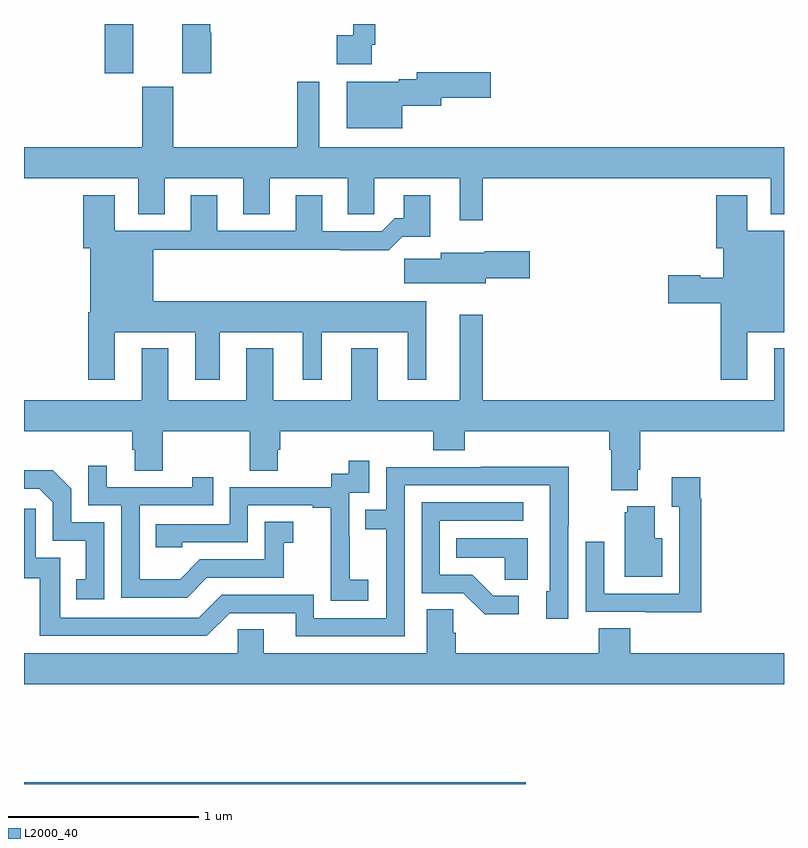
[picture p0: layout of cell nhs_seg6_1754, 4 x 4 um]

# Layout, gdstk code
import gdstk
lib = gdstk.Library(unit=1e-6, precision=1e-09)
def R(c, l, rs):  # rectangles x0, y0, x1, y1
    for r in rs: c.add(gdstk.rectangle(r[:2], r[2:], *l))
def P(c, l, *ps):  # polygons
    for p in ps: c.add(gdstk.Polygon(p, *l))
L2000_40 = (2000, 40)

nhs_seg6_1754 = lib.new_cell('nhs_seg6_1754')
R(nhs_seg6_1754, L2000_40, [(217,925.5,219.64,925.508), (217.424,929.241,217.576,929.5)])
P(nhs_seg6_1754, L2000_40, [(218.829,929.392),(218.849,929.392),(218.849,929.5),(218.732,929.5),(218.732,929.441),(218.646,929.441),(218.646,929.288),(218.829,929.288)],
  [(217.985,929.453),(217.98,929.453),(217.98,929.5),(217.832,929.5),(217.832,929.241),(217.985,929.241)],
  [(218.992,929.069),(219.196,929.069),(219.196,929.111),(219.457,929.111),(219.457,929.246),(219.068,929.246),(219.068,929.21),(218.972,929.21),(218.972,929.197),(218.699,929.197),(218.699,928.952),(218.992,928.952)],
  [(219.415,928.688),(220.931,928.688),(220.931,928.498),(221,928.498),(221,928.852),(218.554,928.852),(218.554,929.197),(218.437,929.197),(218.437,928.852),(217.786,928.852),(217.786,929.169),(217.622,929.169),(217.622,928.852),(217,928.852),(217,928.688),(217.601,928.688),(217.601,928.498),(217.741,928.498),(217.741,928.688),(218.153,928.688),(218.153,928.498),(218.293,928.498),(218.293,928.688),(218.705,928.688),(218.705,928.498),(218.844,928.498),(218.844,928.688),(219.293,928.688),(219.293,928.467),(219.415,928.467)],
  [(217.477,927.878),(217.901,927.878),(217.901,927.627),(218.029,927.627),(218.029,927.878),(218.468,927.878),(218.468,927.627),(218.566,927.627),(218.566,927.878),(219.02,927.878),(219.02,927.627),(219.118,927.627),(219.118,928.042),(217.681,928.042),(217.681,928.312),(218.665,928.312),(218.665,928.31),(218.921,928.31),(218.99,928.379),(219.139,928.379),(219.139,928.6),(218.999,928.6),(218.999,928.477),(218.95,928.477),(218.883,928.41),(218.569,928.41),(218.569,928.6),(218.429,928.6),(218.429,928.413),(218.017,928.413),(218.017,928.6),(217.877,928.6),(217.877,928.413),(217.477,928.413),(217.477,928.6),(217.313,928.6),(217.313,928.32),(217.349,928.32),(217.349,927.982),(217.337,927.982),(217.337,927.627),(217.477,927.627)],
  [(220.807,927.878),(221,927.878),(221,928.413),(220.807,928.413),(220.807,928.6),(220.643,928.6),(220.643,928.32),(220.679,928.32),(220.679,928.165),(220.559,928.165),(220.559,928.178),(220.392,928.178),(220.392,928.031),(220.667,928.031),(220.667,927.627),(220.807,927.627)],
  [(219.43,928.163),(219.661,928.163),(219.661,928.305),(219.426,928.305),(219.426,928.297),(219.194,928.297),(219.194,928.265),(219,928.265),(219,928.136),(219.43,928.136)],
  [(220.231,927.154),(220.244,927.154),(220.244,927.356),(221,927.356),(221,927.793),(220.949,927.793),(220.949,927.52),(219.415,927.52),(219.415,927.97),(219.293,927.97),(219.293,927.52),(218.863,927.52),(218.863,927.793),(218.723,927.793),(218.723,927.52),(218.311,927.52),(218.311,927.793),(218.171,927.793),(218.171,927.52),(217.759,927.52),(217.759,927.793),(217.619,927.793),(217.619,927.52),(217,927.52),(217,927.356),(217.571,927.356),(217.571,927.258),(217.583,927.258),(217.583,927.148),(217.731,927.148),(217.731,927.356),(218.188,927.356),(218.188,927.148),(218.335,927.148),(218.335,927.258),(218.348,927.258),(218.348,927.356),(219.155,927.356),(219.155,927.257),(219.32,927.257),(219.32,927.356),(220.079,927.356),(220.079,927.26),(220.091,927.26),(220.091,927.047),(220.231,927.047)],
  [(218.812,926.575),(218.714,926.575),(218.714,926.804),(218.712,926.804),(218.712,927.033),(218.817,927.033),(218.817,927.202),(218.709,927.202),(218.709,927.132),(218.616,927.132),(218.616,927.063),(218.082,927.063),(218.082,926.868),(217.693,926.868),(217.693,926.745),(217.833,926.745),(217.833,926.772),(218.178,926.772),(218.178,926.967),(218.519,926.967),(218.519,926.955),(218.615,926.955),(218.615,926.671),(218.614,926.671),(218.614,926.465),(218.812,926.465)],
  [(217.963,926.586),(218.367,926.586),(218.367,926.771),(218.416,926.771),(218.416,926.881),(218.268,926.881),(218.268,926.682),(217.926,926.682),(217.822,926.578),(217.608,926.578),(217.608,926.967),(217.997,926.967),(217.997,927.115),(217.886,927.115),(217.886,927.063),(217.435,927.063),(217.435,927.175),(217.338,927.175),(217.338,926.967),(217.512,926.967),(217.512,926.481),(217.858,926.481)],
  [(219.003,927.072),(219.768,927.072),(219.768,926.514),(219.749,926.514),(219.749,926.37),(219.864,926.37),(219.864,926.863),(219.867,926.863),(219.867,927.17),(219.403,927.17),(219.403,927.168),(218.907,927.168),(218.907,926.943),(218.797,926.943),(218.797,926.842),(218.907,926.842),(218.907,926.373),(218.526,926.373),(218.526,926.496),(218.04,926.496),(217.92,926.376),(217.191,926.376),(217.191,926.691),(217.062,926.691),(217.062,926.95),(217,926.95),(217,926.583),(217.083,926.583),(217.083,926.28),(217.962,926.28),(218.082,926.4),(218.429,926.4),(218.429,926.277),(219.003,926.277)],
  [(217.422,926.877),(217.248,926.877),(217.248,927.054),(217.15,927.152),(217,927.152),(217,927.054),(217.08,927.054),(217.152,926.982),(217.152,926.781),(217.325,926.781),(217.325,926.577),(217.276,926.577),(217.276,926.472),(217.422,926.472)],
  [(220.565,927.002),(220.558,927.002),(220.558,927.115),(220.409,927.115),(220.409,926.959),(220.449,926.959),(220.449,926.502),(220.053,926.502),(220.053,926.776),(219.957,926.776),(219.957,926.406),(220.273,926.406),(220.273,926.405),(220.565,926.405)],
  [(219.604,926.49),(219.469,926.49),(219.358,926.601),(219.189,926.601),(219.189,926.886),(219.628,926.886),(219.628,926.982),(219.093,926.982),(219.093,926.505),(219.312,926.505),(219.425,926.393),(219.604,926.393)],
  [(220.36,926.794),(220.321,926.794),(220.321,926.962),(220.175,926.962),(220.175,926.931),(220.163,926.931),(220.163,926.591),(220.36,926.591)],
  [(219.652,926.794),(219.274,926.794),(219.274,926.69),(219.531,926.69),(219.531,926.575),(219.652,926.575)],
  [(221,926.188),(220.19,926.188),(220.19,926.321),(220.025,926.321),(220.025,926.188),(219.272,926.188),(219.272,926.297),(219.258,926.297),(219.258,926.42),(219.119,926.42),(219.119,926.188),(218.263,926.188),(218.263,926.315),(218.124,926.315),(218.124,926.188),(217,926.188),(217,926.024),(221,926.024)])

lib.write_gds('nhs_seg6_1754.gds')
